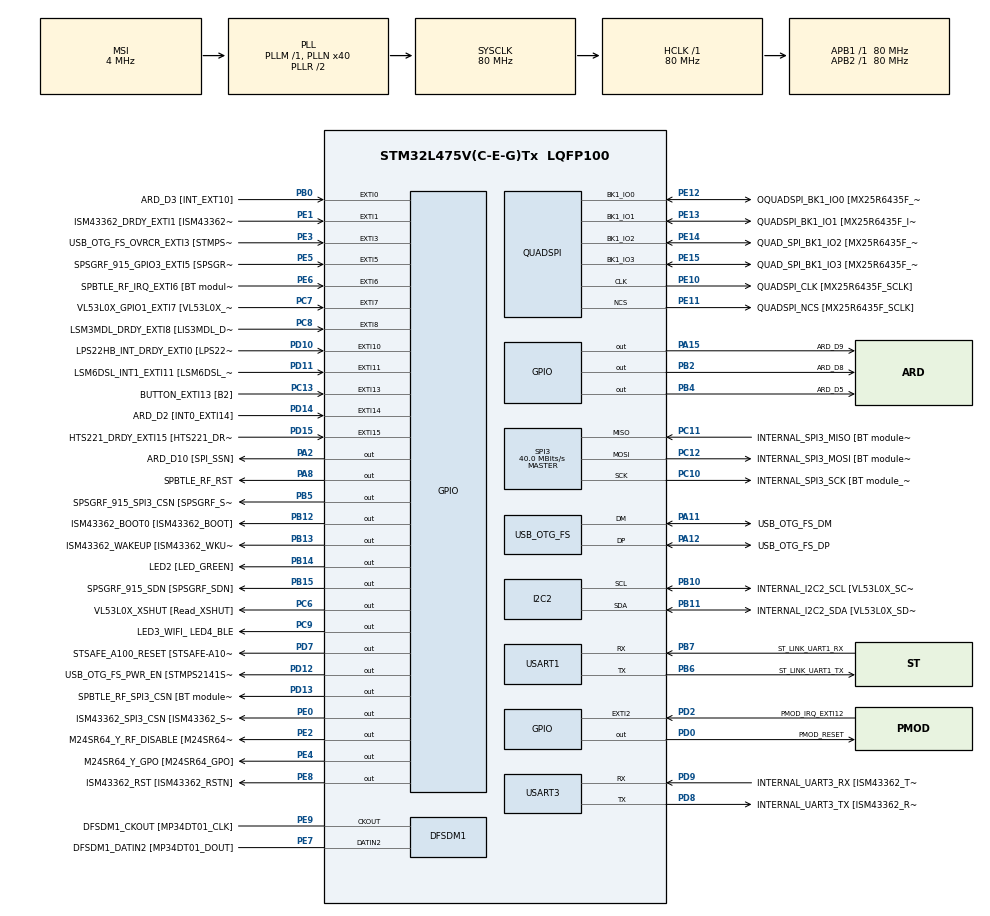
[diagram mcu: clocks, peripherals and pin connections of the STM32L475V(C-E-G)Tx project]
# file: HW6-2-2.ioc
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FREERTOS.Queues01=myQueue01,16,uint16_t,0,Static,myQueue01Buffer,myQueue01ControlBlock
FREERTOS.Tasks01=defaultTask,24,128,StartDefaultTask,Default,NULL,Static,defaultTaskBuffer,defaultTaskControlBlock
Mcu.Family=STM32L4
Mcu.Name=STM32L475V(C-E-G)Tx
Mcu.Package=LQFP100
NVIC.EXTI15_10_IRQn=true\:5\:0\:false\:false\:true\:true\:true\:true\:true
NVIC.EXTI9_5_IRQn=true\:5\:0\:false\:false\:true\:true\:true\:true\:true
NVIC.PriorityGroup=NVIC_PRIORITYGROUP_4
PA0.GPIO_Label=ARD_D1 [UART4_TX]
PA0.Signal=UART4_TX
PA1.GPIO_Label=ARD_D0 [UART4_RX]
PA1.Signal=UART4_RX
PA10.GPIO_Label=USB_OTG_FS_ID
PA10.Signal=USB_OTG_FS_ID
PA11.GPIO_Label=USB_OTG_FS_DM
PA11.Mode=Device_Only
PA11.Signal=USB_OTG_FS_DM
PA12.GPIO_Label=USB_OTG_FS_DP
PA12.Mode=Device_Only
PA12.Signal=USB_OTG_FS_DP
PA13\ (JTMS-SWDIO).GPIO_Label=SYS_JTMS_SWDIO
PA13\ (JTMS-SWDIO).Mode=Serial_Wire
PA13\ (JTMS-SWDIO).Signal=SYS_JTMS-SWDIO
PA14\ (JTCK-SWCLK).GPIO_Label=SYS_JTCK_SWCLK
PA14\ (JTCK-SWCLK).Mode=Serial_Wire
PA14\ (JTCK-SWCLK).Signal=SYS_JTCK-SWCLK
PA15\ (JTDI).GPIO_Label=ARD_D9
PA15\ (JTDI).Signal=GPIO_Output
PA2.GPIO_Label=ARD_D10 [SPI_SSN]
PA2.Signal=GPIO_Output
PA3.GPIO_Label=ARD_D4
PA3.Signal=S_TIM2_CH4
PA4.GPIO_Label=ARD_D7
PA4.Signal=ADCx_IN9
PA5.GPIO_Label=ARD_D13 [SPI1_SCK]
PA5.Signal=SPI1_SCK
PA6.GPIO_Label=ARD_D12 [SPI1_MISO]
PA6.Signal=SPI1_MISO
PA7.GPIO_Label=ARD_D11 [SPI1_MOSI]
PA7.Signal=SPI1_MOSI
PA8.GPIO_Label=SPBTLE_RF_RST
PA8.Signal=GPIO_Output
PA9.GPIO_Label=USB_OTG_FS_VBUS [STMPS2141STR_OUT]
PA9.Signal=USB_OTG_FS_VBUS
PB0.GPIO_Label=ARD_D3 [INT_EXT10]
PB0.Signal=GPXTI0
PB1.GPIO_Label=ARD_D6 [ADC1_IN6]
PB1.Signal=ADCx_IN16
PB10.GPIO_Label=INTERNAL_I2C2_SCL [VL53L0X_SCL]
PB10.GPIO_Pu=GPIO_PULLUP
PB10.Mode=I2C
PB10.Signal=I2C2_SCL
PB11.GPIO_Label=INTERNAL_I2C2_SDA [VL53L0X_SDA]
PB11.GPIO_Pu=GPIO_PULLUP
PB11.Mode=I2C
PB11.Signal=I2C2_SDA
PB12.GPIO_Label=ISM43362_BOOT0 [ISM43362_BOOT]
PB12.Signal=GPIO_Output
PB13.GPIO_Label=ISM43362_WAKEUP [ISM43362_WKUP]
PB13.Signal=GPIO_Output
PB14.GPIO_Label=LED2 [LED_GREEN]
PB14.Signal=GPIO_Output
PB15.GPIO_Label=SPSGRF_915_SDN [SPSGRF_SDN]
PB15.Signal=GPIO_Output
PB2.GPIO_Label=ARD_D8
PB2.Signal=GPIO_Output
PB3\ (JTDO-TRACESWO).GPIO_Label=SYS_JTD0_SWO
PB3\ (JTDO-TRACESWO).Signal=SYS_JTDO-SWO
PB4\ (NJTRST).GPIO_Label=ARD_D5
PB4\ (NJTRST).Signal=GPIO_Output
PB5.GPIO_Label=SPSGRF_915_SPI3_CSN [SPSGRF_SPI_CS]
PB5.PinState=GPIO_PIN_SET
PB5.Signal=GPIO_Output
PB6.GPIO_Label=ST_LINK_UART1_TX
PB6.Mode=Asynchronous
PB6.Signal=USART1_TX
PB7.GPIO_Label=ST_LINK_UART1_RX
PB7.Mode=Asynchronous
PB7.Signal=USART1_RX
PB8.GPIO_Label=ARD_D15 [I2C1_SCL]
PB8.Signal=I2C1_SCL
PB9.GPIO_Label=ARD_D14 [I2C1_SDA]
PB9.Signal=I2C1_SDA
PC0.GPIO_Label=ARD_A5 [ADC]
PC0.Signal=ADCx_IN1
PC1.GPIO_Label=ARD_A4 [ADC]
PC1.Signal=ADCx_IN2
PC10.GPIO_Label=INTERNAL_SPI3_SCK [BT module_SPI_SCLK] [ISM43362_SCK]
PC10.Mode=Full_Duplex_Master
PC10.Signal=SPI3_SCK
PC11.GPIO_Label=INTERNAL_SPI3_MISO [BT module_SPI_MISO] [ISM43362_MISO]
PC11.Mode=Full_Duplex_Master
PC11.Signal=SPI3_MISO
PC12.GPIO_Label=INTERNAL_SPI3_MOSI [BT module_SPI_MOSI] [ISM43362_MOSI]
PC12.Mode=Full_Duplex_Master
PC12.Signal=SPI3_MOSI
PC13.GPIO_Label=BUTTON_EXTI13 [B2]
PC13.GPIO_ModeDefaultEXTI=GPIO_MODE_IT_FALLING
PC13.Signal=GPXTI13
PC14-OSC32_IN\ (PC14).Mode=LSE-External-Oscillator
PC14-OSC32_IN\ (PC14).Signal=RCC_OSC32_IN
PC15-OSC32_OUT\ (PC15).Mode=LSE-External-Oscillator
PC15-OSC32_OUT\ (PC15).Signal=RCC_OSC32_OUT
PC2.GPIO_Label=ARD_A3 [ADC]
PC2.Signal=ADCx_IN3
PC3.GPIO_Label=ARD_A2 [ADC]
PC3.Signal=ADCx_IN4
PC4.GPIO_Label=ARD_A1 [ADC]
PC4.Signal=ADCx_IN13
PC5.GPIO_Label=ARD_A0 [ADC]
PC5.Signal=ADCx_IN14
PC6.GPIO_Label=VL53L0X_XSHUT [Read_XSHUT]
PC6.Signal=GPIO_Output
PC7.GPIO_Label=VL53L0X_GPIO1_EXTI7 [VL53L0X_GPIO1]
PC7.Signal=GPXTI7
PC8.GPIO_Label=LSM3MDL_DRDY_EXTI8 [LIS3MDL_DRDY]
PC8.Signal=GPXTI8
PC9.GPIO_Label=LED3_WIFI_ LED4_BLE
PC9.Signal=GPIO_Output
PD0.GPIO_Label=PMOD_RESET
PD0.Signal=GPIO_Output
PD1.GPIO_Label=PMOD_SPI2_SCK
PD1.Signal=SPI2_SCK
PD10.GPIO_Label=LPS22HB_INT_DRDY_EXTI0 [LPS22HB_INT_DRDY] 
PD10.Signal=GPXTI10
PD11.GPIO_Label=LSM6DSL_INT1_EXTI11 [LSM6DSL_INT1]
PD11.Signal=GPXTI11
PD12.GPIO_Label=USB_OTG_FS_PWR_EN [STMPS2141STR_EN]
PD12.Signal=GPIO_Output
PD13.GPIO_Label=SPBTLE_RF_SPI3_CSN [BT module_SPI_CS]
PD13.PinState=GPIO_PIN_SET
PD13.Signal=GPIO_Output
PD14.GPIO_Label=ARD_D2 [INT0_EXTI14]
PD14.Signal=GPXTI14
PD15.GPIO_Label=HTS221_DRDY_EXTI15 [HTS221_DRDY]
PD15.Signal=GPXTI15
PD2.GPIO_Label=PMOD_IRQ_EXTI12
PD2.Signal=GPXTI2
PD3.GPIO_Label=PMOD_UART2_CTS
PD3.Signal=USART2_CTS
PD4.GPIO_Label=PMOD_UART2_RTS
PD4.Signal=USART2_RTS
PD5.GPIO_Label=PMOD_UART2_TX
PD5.Signal=USART2_TX
PD6.GPIO_Label=PMOD_UART2_RX
PD6.Signal=USART2_RX
PD7.GPIO_Label=STSAFE_A100_RESET [STSAFE-A100_RESET]
PD7.Signal=GPIO_Output
PD8.GPIO_Label=INTERNAL_UART3_TX [ISM43362_RX]
PD8.Mode=Asynchronous
PD8.Signal=USART3_TX
PD9.GPIO_Label=INTERNAL_UART3_RX [ISM43362_TX]
PD9.Mode=Asynchronous
PD9.Signal=USART3_RX
PE0.GPIO_Label=ISM43362_SPI3_CSN [ISM43362_SSN]
PE0.PinState=GPIO_PIN_SET
PE0.Signal=GPIO_Output
PE1.GPIO_Label=ISM43362_DRDY_EXTI1 [ISM43362_DATARDY]
PE1.Signal=GPXTI1
PE10.GPIO_Label=QUADSPI_CLK [MX25R6435F_SCLK]
PE10.Mode=Single Bank
PE10.Signal=QUADSPI_CLK
PE11.GPIO_Label=QUADSPI_NCS [MX25R6435F_SCLK]
PE11.Mode=Single Bank
PE11.Signal=QUADSPI_NCS
PE12.GPIO_Label=OQUADSPI_BK1_IO0 [MX25R6435F_IO0]
PE12.Mode=Single Bank
PE12.Signal=QUADSPI_BK1_IO0
PE13.GPIO_Label=QUADSPI_BK1_IO1 [MX25R6435F_IO1]
PE13.Mode=Single Bank
PE13.Signal=QUADSPI_BK1_IO1
PE14.GPIO_Label=QUAD_SPI_BK1_IO2 [MX25R6435F_IO2]
PE14.Mode=Single Bank
PE14.Signal=QUADSPI_BK1_IO2
PE15.GPIO_Label=QUAD_SPI_BK1_IO3 [MX25R6435F_IO3]
PE15.Mode=Single Bank
PE15.Signal=QUADSPI_BK1_IO3
PE2.GPIO_Label=M24SR64_Y_RF_DISABLE [M24SR64_RFDIS]
PE2.Signal=GPIO_Output
PE3.GPIO_Label=USB_OTG_FS_OVRCR_EXTI3 [STMPS2141STR_FAULT]
PE3.Signal=GPXTI3
PE4.GPIO_Label=M24SR64_Y_GPO [M24SR64_GPO]
PE4.Signal=GPIO_Output
PE5.GPIO_Label=SPSGRF_915_GPIO3_EXTI5 [SPSGRF_GPIO_3]
PE5.Signal=GPXTI5
PE6.GPIO_Label=SPBTLE_RF_IRQ_EXTI6 [BT module_SPI_IRQ]
PE6.Signal=GPXTI6
PE7.GPIO_Label=DFSDM1_DATIN2 [MP34DT01_DOUT]
PE7.Signal=S_DATAIN2DFSDM1
PE8.GPIO_Label=ISM43362_RST [ISM43362_RSTN]
PE8.Signal=GPIO_Output
PE9.GPIO_Label=DFSDM1_CKOUT [MP34DT01_CLK]
PE9.Signal=S_CKOUTDFSDM1
ProjectManager.HeapSize=0x200
ProjectManager.StackSize=0x400
ProjectManager.TargetToolchain=STM32CubeIDE
QUADSPI.ClockPrescaler=2
QUADSPI.FifoThreshold=4
QUADSPI.FlashSize=23
QUADSPI.SampleShifting=QSPI_SAMPLE_SHIFTING_HALFCYCLE
RCC.ADCFreq_Value=48000000
RCC.AHBFreq_Value=80000000
RCC.APB1Freq_Value=80000000
RCC.APB1TimFreq_Value=80000000
RCC.APB2Freq_Value=80000000
RCC.APB2TimFreq_Value=80000000
RCC.CortexFreq_Value=80000000
RCC.HCLKFreq_Value=80000000
RCC.HSE_VALUE=8000000
RCC.HSI_VALUE=16000000
RCC.MSI_VALUE=4000000
RCC.PLLN=40
RCC.PLLSAI1N=24
RCC.SYSCLKFreq_VALUE=80000000
RCC.SYSCLKSource=RCC_SYSCLKSOURCE_PLLCLK
RCC.USBFreq_Value=48000000
RCC.VCOOutputFreq_Value=160000000
SH.ADCx_IN1.0=ADC1_IN1
SH.ADCx_IN13.0=ADC1_IN13
SH.ADCx_IN14.0=ADC1_IN14
SH.ADCx_IN16.0=ADC1_IN16
SH.ADCx_IN2.0=ADC1_IN2
SH.ADCx_IN3.0=ADC1_IN3
SH.ADCx_IN4.0=ADC1_IN4
SH.ADCx_IN9.0=ADC1_IN9
SH.S_CKOUTDFSDM1.0=DFSDM1_CKOUT,CKOUT
SH.S_CKOUTDFSDM1.1=DFSDM1_CKOUT,PDM_SPI_Input_from_ch12_and_Internal_Clock
SH.S_DATAIN2DFSDM1.0=DFSDM1_DATIN2,PDM_SPI_Input_from_ch12_and_Internal_Clock
SH.S_TIM2_CH4.0=TIM2_CH4
SPI3.CalculateBaudRate=40.0 MBits/s
SPI3.Direction=SPI_DIRECTION_2LINES
SPI3.Mode=SPI_MODE_MASTER
SPI3.VirtualType=VM_MASTER
USART1.VirtualMode-Asynchronous=VM_ASYNC
USART3.VirtualMode-Asynchronous=VM_ASYNC
USB_OTG_FS.VirtualMode=Device_Only
VP_FREERTOS_VS_CMSIS_V2.Mode=CMSIS_V2
board=B-L475E-IOT01A2

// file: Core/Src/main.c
/* USER CODE BEGIN Header */
/**
  ******************************************************************************
  * @file           : main.c
  * @brief          : Main program body
  ******************************************************************************
  * @attention
  *
  * Copyright (c) 2024 STMicroelectronics.
  * All rights reserved.
  *
  * This software is licensed under terms that can be found in the LICENSE file
  * in the root directory of this software component.
  * If no LICENSE file comes with this software, it is provided AS-IS.
  *
  ******************************************************************************
  */
/* USER CODE END Header */
#include "main.h"
#include "cmsis_os.h"

typedef StaticTask_t osStaticThreadDef_t;
typedef StaticQueue_t osStaticMessageQDef_t;

/* USER CODE BEGIN PM */
int flags;
/* USER CODE END PM */

DFSDM_Channel_HandleTypeDef hdfsdm1_channel1;

I2C_HandleTypeDef hi2c2;

QSPI_HandleTypeDef hqspi;

SPI_HandleTypeDef hspi3;

UART_HandleTypeDef huart1;
UART_HandleTypeDef huart3;

PCD_HandleTypeDef hpcd_USB_OTG_FS;

/* Definitions for defaultTask */
osThreadId_t defaultTaskHandle;
uint32_t defaultTaskBuffer[ 128 ];
osStaticThreadDef_t defaultTaskControlBlock;
const osThreadAttr_t defaultTask_attributes = {
  .name = "defaultTask",
  .cb_mem = &defaultTaskControlBlock,
  .cb_size = sizeof(defaultTaskControlBlock),
  .stack_mem = &defaultTaskBuffer[0],
  .stack_size = sizeof(defaultTaskBuffer),
  .priority = (osPriority_t) osPriorityNormal,
};
/* Definitions for myQueue01 */
osMessageQueueId_t myQueue01Handle;
uint8_t myQueue01Buffer[ 16 * sizeof( uint16_t ) ];
osStaticMessageQDef_t myQueue01ControlBlock;
const osMessageQueueAttr_t myQueue01_attributes = {
  .name = "myQueue01",
  .cb_mem = &myQueue01ControlBlock,
  .cb_size = sizeof(myQueue01ControlBlock),
  .mq_mem = &myQueue01Buffer,
  .mq_size = sizeof(myQueue01Buffer)
};
/* USER CODE BEGIN PV */
TIM_HandleTypeDef htim1;
ADC_HandleTypeDef hadc1;
DMA_HandleTypeDef hdma1;

#define SAMPLE_BUFFER_SIZE  256
uint16_t sample_buffer[SAMPLE_BUFFER_SIZE];
/* USER CODE END PV */

void SystemClock_Config(void);
static void MX_GPIO_Init(void);
static void MX_DFSDM1_Init(void);
static void MX_I2C2_Init(void);
static void MX_QUADSPI_Init(void);
static void MX_SPI3_Init(void);
static void MX_USART1_UART_Init(void);
static void MX_USART3_UART_Init(void);
static void MX_USB_OTG_FS_PCD_Init(void);
void StartDefaultTask(void *argument);

/* USER CODE BEGIN 0 */
int __io_putchar(int ch){
	HAL_UART_Transmit(&huart1, (uint8_t*)&ch, 1, 0xFFFF);
	return ch;
}

void HAL_ADC_MspInit(ADC_HandleTypeDef* hadc)
{
    if(hadc->Instance == ADC1)
    {
        /* Peripheral clock enable */
        __HAL_RCC_ADC_CLK_ENABLE();
    }

}

void HAL_ADC_MspDeInit(ADC_HandleTypeDef* hadc)
{
    if(hadc->Instance==ADC1)
    {
        /* Peripheral clock disable */
        __HAL_RCC_ADC_CLK_DISABLE();
    }

}

void ADC1_Init(void)
{
    ADC_MultiModeTypeDef multimode = {0};
    ADC_ChannelConfTypeDef sConfig = {0};

  /** Common config
  */
    hadc1.Instance = ADC1;
    hadc1.Init.ClockPrescaler = ADC_CLOCK_SYNC_PCLK_DIV4;//ADC_CLOCK_ASYNC_DIV1;
    hadc1.Init.Resolution = ADC_RESOLUTION_12B;
    hadc1.Init.DataAlign = ADC_DATAALIGN_RIGHT;
    hadc1.Init.ScanConvMode = ADC_SCAN_DISABLE;
    hadc1.Init.EOCSelection = ADC_EOC_SINGLE_CONV;
    hadc1.Init.LowPowerAutoWait = DISABLE;
    hadc1.Init.ContinuousConvMode = DISABLE;
    hadc1.Init.NbrOfConversion = 1;
    hadc1.Init.DiscontinuousConvMode = DISABLE;
    hadc1.Init.ExternalTrigConv = ADC_EXTERNALTRIG_T1_TRGO;
    hadc1.Init.ExternalTrigConvEdge = ADC_EXTERNALTRIGCONVEDGE_RISING;
    hadc1.Init.DMAContinuousRequests = DISABLE;
    hadc1.Init.Overrun = ADC_OVR_DATA_PRESERVED;
    hadc1.Init.OversamplingMode = DISABLE;
    if (HAL_ADC_Init(&hadc1) != HAL_OK)
    {
        Error_Handler();
    }

    if (HAL_ADCEx_Calibration_Start(&hadc1, ADC_SINGLE_ENDED) != HAL_OK)
    {
        Error_Handler();
    }

  /** Configure the ADC multi-mode
  */
    multimode.Mode = ADC_MODE_INDEPENDENT;
    if (HAL_ADCEx_MultiModeConfigChannel(&hadc1, &multimode) != HAL_OK)
    {
        Error_Handler();
    }

  /** Configure Regular Channel
  */
    sConfig.Channel = ADC_CHANNEL_TEMPSENSOR;
    sConfig.Rank = ADC_REGULAR_RANK_1;
    sConfig.SamplingTime = ADC_SAMPLETIME_2CYCLES_5;//ADC_SAMPLETIME_247CYCLES_5;
    sConfig.SingleDiff = ADC_SINGLE_ENDED;
    sConfig.OffsetNumber = ADC_OFFSET_NONE;
    sConfig.Offset = 0;
    if (HAL_ADC_ConfigChannel(&hadc1, &sConfig) != HAL_OK)
    {
        Error_Handler();
    }

}

void HAL_ADC_ConvCpltCallback(ADC_HandleTypeDef *hadc)
{
	//to do: inform RTOS task to print out sensor data
	int i;
//	for(i = SAMPLE_BUFFER_SIZE/2; i<SAMPLE_BUFFER_SIZE;++i)
//		printf("%d", sample_buffer[i]);
//	printf("\r\n");

	uint32_t val = 1;
	  uint8_t pri = 0;
	  flags = 1;
	  osStatus_t res = osMessageQueuePut(myQueue01Handle, &val, pri, 0);
	  if(res!=osOK){
	//	  osThreadSuspendAll();
		  printf("Message put failed:( :::: %d\r\n", res);
	//	  osThreadResumeAll();
	  }

}

void HAL_ADC_ConvHalfCpltCallback(ADC_HandleTypeDef *hadc)
{
    	//to do: inform RTOS task to print out sensor data

	int i;
//	for(i = 0; i<SAMPLE_BUFFER_SIZE/2;++i)
//		printf("%d", sample_buffer[i]);
//	printf("\r\n");

	uint32_t val = 0;
		  uint8_t pri = 0;
		  flags = 1;
		  osStatus_t res = osMessageQueuePut(myQueue01Handle, &val, pri, 0);
		  if(res!=osOK){
		//	  osThreadSuspendAll();
			  printf("Message put failed:( :::: %d\r\n", res);
		//	  osThreadResumeAll();
		  }
}

void DMA1_Channel1_IRQHandler(void)
{
    SET_BIT(hadc1.Instance->CFGR, ADC_CFGR_DMACFG);
    HAL_DMA_IRQHandler(&hdma1);
}

void ADC1_DMA1CH1_init()
{
    __HAL_RCC_DMA1_CLK_ENABLE();

    hdma1.Instance = DMA1_Channel1;
    hdma1.Init.Direction = DMA_PERIPH_TO_MEMORY;
    hdma1.Init.PeriphInc = DMA_PINC_DISABLE;
    hdma1.Init.MemInc = DMA_MINC_ENABLE;
    hdma1.Init.PeriphDataAlignment = DMA_PDATAALIGN_HALFWORD;
    hdma1.Init.MemDataAlignment = DMA_MDATAALIGN_HALFWORD;
    hdma1.Init.Mode = DMA_CIRCULAR;
    hdma1.Init.Priority = DMA_PRIORITY_HIGH;

    if (HAL_DMA_Init(&hdma1) != HAL_OK)
    {
        Error_Handler();
    }

    __HAL_LINKDMA(&hadc1, DMA_Handle, hdma1);

    ADC1_Init();

    NVIC_SetVector(DMA1_Channel1_IRQn, (uint32_t)&DMA1_Channel1_IRQHandler);
    HAL_NVIC_SetPriority(DMA1_Channel1_IRQn, 5, 0);
    HAL_NVIC_EnableIRQ(DMA1_Channel1_IRQn);
}

void HAL_TIM_Base_MspInit(TIM_HandleTypeDef* htim_base)
{
    if(htim_base->Instance == TIM1)
    {
        __HAL_RCC_TIM1_CLK_ENABLE();
    }
}

void HAL_TIM_Base_MspDeInit(TIM_HandleTypeDef* htim_base)
{
    if(htim_base->Instance == TIM1)
    {
        __HAL_RCC_TIM1_CLK_DISABLE();
    }
}

static void TIM1_Init(void)
{
    TIM_ClockConfigTypeDef sClockSourceConfig = {0};
    TIM_MasterConfigTypeDef sMasterConfig = {0};

    htim1.Instance = TIM1;
    htim1.Init.Prescaler = 4000 - 1;
    htim1.Init.CounterMode = TIM_COUNTERMODE_UP;
    htim1.Init.Period = 1000 - 1;
    htim1.Init.ClockDivision = TIM_CLOCKDIVISION_DIV1;
    htim1.Init.AutoReloadPreload = TIM_AUTORELOAD_PRELOAD_DISABLE;
    if (HAL_TIM_Base_Init(&htim1) != HAL_OK)
    {
        Error_Handler();
    }
    sClockSourceConfig.ClockSource = TIM_CLOCKSOURCE_INTERNAL;
    if (HAL_TIM_ConfigClockSource(&htim1, &sClockSourceConfig) != HAL_OK)
    {
        Error_Handler();
    }
    sMasterConfig.MasterOutputTrigger = TIM_TRGO_UPDATE;
    sMasterConfig.MasterSlaveMode = TIM_MASTERSLAVEMODE_DISABLE;
    if (HAL_TIMEx_MasterConfigSynchronization(&htim1, &sMasterConfig) != HAL_OK)
    {
        Error_Handler();
    }
}
/* USER CODE END 0 */

int main(void)
{

  /* MCU Configuration--------------------------------------------------------*/

  /* Reset of all peripherals, Initializes the Flash interface and the Systick. */
  HAL_Init();

  /* Configure the system clock */
  SystemClock_Config();

  /* Initialize all configured peripherals */
  MX_GPIO_Init();
  MX_DFSDM1_Init();
  MX_I2C2_Init();
  MX_QUADSPI_Init();
  MX_SPI3_Init();
  MX_USART1_UART_Init();
  MX_USART3_UART_Init();
  MX_USB_OTG_FS_PCD_Init();
  /* USER CODE BEGIN 2 */
  TIM1_Init();
      ADC1_DMA1CH1_init();

      HAL_ADC_Start_DMA(&hadc1, (uint32_t *) &sample_buffer[0], SAMPLE_BUFFER_SIZE);
                HAL_TIM_Base_Start_IT(&htim1);
  /* USER CODE END 2 */

  /* Init scheduler */
  osKernelInitialize();

  /* Create the queue(s) */
  /* creation of myQueue01 */
  myQueue01Handle = osMessageQueueNew (16, sizeof(uint16_t), &myQueue01_attributes);

  /* Create the thread(s) */
  /* creation of defaultTask */
  defaultTaskHandle = osThreadNew(StartDefaultTask, NULL, &defaultTask_attributes);

  /* Start scheduler */
  osKernelStart();

  /* We should never get here as control is now taken by the scheduler */

  /* Infinite loop */
  while (1)
  {

  }
}

void SystemClock_Config(void)
{
  RCC_OscInitTypeDef RCC_OscInitStruct = {0};
  RCC_ClkInitTypeDef RCC_ClkInitStruct = {0};

  /** Configure the main internal regulator output voltage
  */
  if (HAL_PWREx_ControlVoltageScaling(PWR_REGULATOR_VOLTAGE_SCALE1) != HAL_OK)
  {
    Error_Handler();
  }

  /** Configure LSE Drive Capability
  */
  HAL_PWR_EnableBkUpAccess();
  __HAL_RCC_LSEDRIVE_CONFIG(RCC_LSEDRIVE_LOW);

  /** Initializes the RCC Oscillators according to the specified parameters
  * in the RCC_OscInitTypeDef structure.
  */
  RCC_OscInitStruct.OscillatorType = RCC_OSCILLATORTYPE_LSE|RCC_OSCILLATORTYPE_MSI;
  RCC_OscInitStruct.LSEState = RCC_LSE_ON;
  RCC_OscInitStruct.MSIState = RCC_MSI_ON;
  RCC_OscInitStruct.MSICalibrationValue = 0;
  RCC_OscInitStruct.MSIClockRange = RCC_MSIRANGE_6;
  RCC_OscInitStruct.PLL.PLLState = RCC_PLL_ON;
  RCC_OscInitStruct.PLL.PLLSource = RCC_PLLSOURCE_MSI;
  RCC_OscInitStruct.PLL.PLLM = 1;
  RCC_OscInitStruct.PLL.PLLN = 40;
  RCC_OscInitStruct.PLL.PLLP = RCC_PLLP_DIV7;
  RCC_OscInitStruct.PLL.PLLQ = RCC_PLLQ_DIV2;
  RCC_OscInitStruct.PLL.PLLR = RCC_PLLR_DIV2;
  if (HAL_RCC_OscConfig(&RCC_OscInitStruct) != HAL_OK)
  {
    Error_Handler();
  }

  /** Initializes the CPU, AHB and APB buses clocks
  */
  RCC_ClkInitStruct.ClockType = RCC_CLOCKTYPE_HCLK|RCC_CLOCKTYPE_SYSCLK
                              |RCC_CLOCKTYPE_PCLK1|RCC_CLOCKTYPE_PCLK2;
  RCC_ClkInitStruct.SYSCLKSource = RCC_SYSCLKSOURCE_PLLCLK;
  RCC_ClkInitStruct.AHBCLKDivider = RCC_SYSCLK_DIV1;
  RCC_ClkInitStruct.APB1CLKDivider = RCC_HCLK_DIV1;
  RCC_ClkInitStruct.APB2CLKDivider = RCC_HCLK_DIV1;

  if (HAL_RCC_ClockConfig(&RCC_ClkInitStruct, FLASH_LATENCY_4) != HAL_OK)
  {
    Error_Handler();
  }

  /** Enable MSI Auto calibration
  */
  HAL_RCCEx_EnableMSIPLLMode();
}

static void MX_DFSDM1_Init(void)
{

  hdfsdm1_channel1.Instance = DFSDM1_Channel1;
  hdfsdm1_channel1.Init.OutputClock.Activation = ENABLE;
  hdfsdm1_channel1.Init.OutputClock.Selection = DFSDM_CHANNEL_OUTPUT_CLOCK_SYSTEM;
  hdfsdm1_channel1.Init.OutputClock.Divider = 2;
  hdfsdm1_channel1.Init.Input.Multiplexer = DFSDM_CHANNEL_EXTERNAL_INPUTS;
  hdfsdm1_channel1.Init.Input.DataPacking = DFSDM_CHANNEL_STANDARD_MODE;
  hdfsdm1_channel1.Init.Input.Pins = DFSDM_CHANNEL_FOLLOWING_CHANNEL_PINS;
  hdfsdm1_channel1.Init.SerialInterface.Type = DFSDM_CHANNEL_SPI_RISING;
  hdfsdm1_channel1.Init.SerialInterface.SpiClock = DFSDM_CHANNEL_SPI_CLOCK_INTERNAL;
  hdfsdm1_channel1.Init.Awd.FilterOrder = DFSDM_CHANNEL_FASTSINC_ORDER;
  hdfsdm1_channel1.Init.Awd.Oversampling = 1;
  hdfsdm1_channel1.Init.Offset = 0;
  hdfsdm1_channel1.Init.RightBitShift = 0x00;
  if (HAL_DFSDM_ChannelInit(&hdfsdm1_channel1) != HAL_OK)
  {
    Error_Handler();
  }

}

static void MX_I2C2_Init(void)
{

  hi2c2.Instance = I2C2;
  hi2c2.Init.Timing = 0x00000E14;
  hi2c2.Init.OwnAddress1 = 0;
  hi2c2.Init.AddressingMode = I2C_ADDRESSINGMODE_7BIT;
  hi2c2.Init.DualAddressMode = I2C_DUALADDRESS_DISABLE;
  hi2c2.Init.OwnAddress2 = 0;
  hi2c2.Init.OwnAddress2Masks = I2C_OA2_NOMASK;
  hi2c2.Init.GeneralCallMode = I2C_GENERALCALL_DISABLE;
  hi2c2.Init.NoStretchMode = I2C_NOSTRETCH_DISABLE;
  if (HAL_I2C_Init(&hi2c2) != HAL_OK)
  {
    Error_Handler();
  }

  /** Configure Analogue filter
  */
  if (HAL_I2CEx_ConfigAnalogFilter(&hi2c2, I2C_ANALOGFILTER_ENABLE) != HAL_OK)
  {
    Error_Handler();
  }

  /** Configure Digital filter
  */
  if (HAL_I2CEx_ConfigDigitalFilter(&hi2c2, 0) != HAL_OK)
  {
    Error_Handler();
  }

}

static void MX_QUADSPI_Init(void)
{

  /* QUADSPI parameter configuration*/
  hqspi.Instance = QUADSPI;
  hqspi.Init.ClockPrescaler = 2;
  hqspi.Init.FifoThreshold = 4;
  hqspi.Init.SampleShifting = QSPI_SAMPLE_SHIFTING_HALFCYCLE;
  hqspi.Init.FlashSize = 23;
  hqspi.Init.ChipSelectHighTime = QSPI_CS_HIGH_TIME_1_CYCLE;
  hqspi.Init.ClockMode = QSPI_CLOCK_MODE_0;
  if (HAL_QSPI_Init(&hqspi) != HAL_OK)
  {
    Error_Handler();
  }

}

static void MX_SPI3_Init(void)
{

  /* SPI3 parameter configuration*/
  hspi3.Instance = SPI3;
  hspi3.Init.Mode = SPI_MODE_MASTER;
  hspi3.Init.Direction = SPI_DIRECTION_2LINES;
  hspi3.Init.DataSize = SPI_DATASIZE_4BIT;
  hspi3.Init.CLKPolarity = SPI_POLARITY_LOW;
  hspi3.Init.CLKPhase = SPI_PHASE_1EDGE;
  hspi3.Init.NSS = SPI_NSS_SOFT;
  hspi3.Init.BaudRatePrescaler = SPI_BAUDRATEPRESCALER_2;
  hspi3.Init.FirstBit = SPI_FIRSTBIT_MSB;
  hspi3.Init.TIMode = SPI_TIMODE_DISABLE;
  hspi3.Init.CRCCalculation = SPI_CRCCALCULATION_DISABLE;
  hspi3.Init.CRCPolynomial = 7;
  hspi3.Init.CRCLength = SPI_CRC_LENGTH_DATASIZE;
  hspi3.Init.NSSPMode = SPI_NSS_PULSE_ENABLE;
  if (HAL_SPI_Init(&hspi3) != HAL_OK)
  {
    Error_Handler();
  }

}

static void MX_USART1_UART_Init(void)
{

  huart1.Instance = USART1;
  huart1.Init.BaudRate = 115200;
  huart1.Init.WordLength = UART_WORDLENGTH_8B;
  huart1.Init.StopBits = UART_STOPBITS_1;
  huart1.Init.Parity = UART_PARITY_NONE;
  huart1.Init.Mode = UART_MODE_TX_RX;
  huart1.Init.HwFlowCtl = UART_HWCONTROL_NONE;
  huart1.Init.OverSampling = UART_OVERSAMPLING_16;
  huart1.Init.OneBitSampling = UART_ONE_BIT_SAMPLE_DISABLE;
  huart1.AdvancedInit.AdvFeatureInit = UART_ADVFEATURE_NO_INIT;
  if (HAL_UART_Init(&huart1) != HAL_OK)
  {
    Error_Handler();
  }

}

static void MX_USART3_UART_Init(void)
{

  huart3.Instance = USART3;
  huart3.Init.BaudRate = 115200;
  huart3.Init.WordLength = UART_WORDLENGTH_8B;
  huart3.Init.StopBits = UART_STOPBITS_1;
  huart3.Init.Parity = UART_PARITY_NONE;
  huart3.Init.Mode = UART_MODE_TX_RX;
  huart3.Init.HwFlowCtl = UART_HWCONTROL_NONE;
  huart3.Init.OverSampling = UART_OVERSAMPLING_16;
  huart3.Init.OneBitSampling = UART_ONE_BIT_SAMPLE_DISABLE;
  huart3.AdvancedInit.AdvFeatureInit = UART_ADVFEATURE_NO_INIT;
  if (HAL_UART_Init(&huart3) != HAL_OK)
  {
    Error_Handler();
  }

}

static void MX_USB_OTG_FS_PCD_Init(void)
{

  hpcd_USB_OTG_FS.Instance = USB_OTG_FS;
  hpcd_USB_OTG_FS.Init.dev_endpoints = 6;
  hpcd_USB_OTG_FS.Init.speed = PCD_SPEED_FULL;
  hpcd_USB_OTG_FS.Init.phy_itface = PCD_PHY_EMBEDDED;
  hpcd_USB_OTG_FS.Init.Sof_enable = DISABLE;
  hpcd_USB_OTG_FS.Init.low_power_enable = DISABLE;
  hpcd_USB_OTG_FS.Init.lpm_enable = DISABLE;
  hpcd_USB_OTG_FS.Init.battery_charging_enable = DISABLE;
  hpcd_USB_OTG_FS.Init.use_dedicated_ep1 = DISABLE;
  hpcd_USB_OTG_FS.Init.vbus_sensing_enable = DISABLE;
  if (HAL_PCD_Init(&hpcd_USB_OTG_FS) != HAL_OK)
  {
    Error_Handler();
  }

}

static void MX_GPIO_Init(void)
{
  GPIO_InitTypeDef GPIO_InitStruct = {0};

  /* GPIO Ports Clock Enable */
  __HAL_RCC_GPIOE_CLK_ENABLE();
  __HAL_RCC_GPIOC_CLK_ENABLE();
  __HAL_RCC_GPIOA_CLK_ENABLE();
  __HAL_RCC_GPIOB_CLK_ENABLE();
  __HAL_RCC_GPIOD_CLK_ENABLE();

  /*Configure GPIO pin Output Level */
  HAL_GPIO_WritePin(GPIOE, M24SR64_Y_RF_DISABLE_Pin|M24SR64_Y_GPO_Pin|ISM43362_RST_Pin, GPIO_PIN_RESET);

  /*Configure GPIO pin Output Level */
  HAL_GPIO_WritePin(GPIOA, ARD_D10_Pin|SPBTLE_RF_RST_Pin|ARD_D9_Pin, GPIO_PIN_RESET);

  /*Configure GPIO pin Output Level */
  HAL_GPIO_WritePin(GPIOB, ARD_D8_Pin|ISM43362_BOOT0_Pin|ISM43362_WAKEUP_Pin|LED2_Pin
                          |SPSGRF_915_SDN_Pin|ARD_D5_Pin, GPIO_PIN_RESET);

  /*Configure GPIO pin Output Level */
  HAL_GPIO_WritePin(GPIOD, USB_OTG_FS_PWR_EN_Pin|PMOD_RESET_Pin|STSAFE_A100_RESET_Pin, GPIO_PIN_RESET);

  /*Configure GPIO pin Output Level */
  HAL_GPIO_WritePin(SPBTLE_RF_SPI3_CSN_GPIO_Port, SPBTLE_RF_SPI3_CSN_Pin, GPIO_PIN_SET);

  /*Configure GPIO pin Output Level */
  HAL_GPIO_WritePin(GPIOC, VL53L0X_XSHUT_Pin|LED3_WIFI__LED4_BLE_Pin, GPIO_PIN_RESET);

  /*Configure GPIO pin Output Level */
  HAL_GPIO_WritePin(SPSGRF_915_SPI3_CSN_GPIO_Port, SPSGRF_915_SPI3_CSN_Pin, GPIO_PIN_SET);

  /*Configure GPIO pin Output Level */
  HAL_GPIO_WritePin(ISM43362_SPI3_CSN_GPIO_Port, ISM43362_SPI3_CSN_Pin, GPIO_PIN_SET);

  /*Configure GPIO pins : M24SR64_Y_RF_DISABLE_Pin M24SR64_Y_GPO_Pin ISM43362_RST_Pin ISM43362_SPI3_CSN_Pin */
  GPIO_InitStruct.Pin = M24SR64_Y_RF_DISABLE_Pin|M24SR64_Y_GPO_Pin|ISM43362_RST_Pin|ISM43362_SPI3_CSN_Pin;
  GPIO_InitStruct.Mode = GPIO_MODE_OUTPUT_PP;
  GPIO_InitStruct.Pull = GPIO_NOPULL;
  GPIO_InitStruct.Speed = GPIO_SPEED_FREQ_LOW;
  HAL_GPIO_Init(GPIOE, &GPIO_InitStruct);

  /*Configure GPIO pins : USB_OTG_FS_OVRCR_EXTI3_Pin SPSGRF_915_GPIO3_EXTI5_Pin SPBTLE_RF_IRQ_EXTI6_Pin ISM43362_DRDY_EXTI1_Pin */
  GPIO_InitStruct.Pin = USB_OTG_FS_OVRCR_EXTI3_Pin|SPSGRF_915_GPIO3_EXTI5_Pin|SPBTLE_RF_IRQ_EXTI6_Pin|ISM43362_DRDY_EXTI1_Pin;
  GPIO_InitStruct.Mode = GPIO_MODE_IT_RISING;
  GPIO_InitStruct.Pull = GPIO_NOPULL;
  HAL_GPIO_Init(GPIOE, &GPIO_InitStruct);

  /*Configure GPIO pin : BUTTON_EXTI13_Pin */
  GPIO_InitStruct.Pin = BUTTON_EXTI13_Pin;
  GPIO_InitStruct.Mode = GPIO_MODE_IT_FALLING;
  GPIO_InitStruct.Pull = GPIO_NOPULL;
  HAL_GPIO_Init(BUTTON_EXTI13_GPIO_Port, &GPIO_InitStruct);

  /*Configure GPIO pins : ARD_A5_Pin ARD_A4_Pin ARD_A3_Pin ARD_A2_Pin
                           ARD_A1_Pin ARD_A0_Pin */
  GPIO_InitStruct.Pin = ARD_A5_Pin|ARD_A4_Pin|ARD_A3_Pin|ARD_A2_Pin
                          |ARD_A1_Pin|ARD_A0_Pin;
  GPIO_InitStruct.Mode = GPIO_MODE_ANALOG_ADC_CONTROL;
  GPIO_InitStruct.Pull = GPIO_NOPULL;
  HAL_GPIO_Init(GPIOC, &GPIO_InitStruct);

  /*Configure GPIO pins : ARD_D1_Pin ARD_D0_Pin */
  GPIO_InitStruct.Pin = ARD_D1_Pin|ARD_D0_Pin;
  GPIO_InitStruct.Mode = GPIO_MODE_AF_PP;
  GPIO_InitStruct.Pull = GPIO_NOPULL;
  GPIO_InitStruct.Speed = GPIO_SPEED_FREQ_VERY_HIGH;
  GPIO_InitStruct.Alternate = GPIO_AF8_UART4;
  HAL_GPIO_Init(GPIOA, &GPIO_InitStruct);

  /*Configure GPIO pins : ARD_D10_Pin SPBTLE_RF_RST_Pin ARD_D9_Pin */
  GPIO_InitStruct.Pin = ARD_D10_Pin|SPBTLE_RF_RST_Pin|ARD_D9_Pin;
  GPIO_InitStruct.Mode = GPIO_MODE_OUTPUT_PP;
  GPIO_InitStruct.Pull = GPIO_NOPULL;
  GPIO_InitStruct.Speed = GPIO_SPEED_FREQ_LOW;
  HAL_GPIO_Init(GPIOA, &GPIO_InitStruct);

  /*Configure GPIO pin : ARD_D4_Pin */
  GPIO_InitStruct.Pin = ARD_D4_Pin;
  GPIO_InitStruct.Mode = GPIO_MODE_AF_PP;
  GPIO_InitStruct.Pull = GPIO_NOPULL;
  GPIO_InitStruct.Speed = GPIO_SPEED_FREQ_LOW;
  GPIO_InitStruct.Alternate = GPIO_AF1_TIM2;
  HAL_GPIO_Init(ARD_D4_GPIO_Port, &GPIO_InitStruct);

  /*Configure GPIO pin : ARD_D7_Pin */
  GPIO_InitStruct.Pin = ARD_D7_Pin;
  GPIO_InitStruct.Mode = GPIO_MODE_ANALOG_ADC_CONTROL;
  GPIO_InitStruct.Pull = GPIO_NOPULL;
  HAL_GPIO_Init(ARD_D7_GPIO_Port, &GPIO_InitStruct);

  /*Configure GPIO pins : ARD_D13_Pin ARD_D12_Pin ARD_D11_Pin */
  GPIO_InitStruct.Pin = ARD_D13_Pin|ARD_D12_Pin|ARD_D11_Pin;
  GPIO_InitStruct.Mode = GPIO_MODE_AF_PP;
  GPIO_InitStruct.Pull = GPIO_NOPULL;
  GPIO_InitStruct.Speed = GPIO_SPEED_FREQ_VERY_HIGH;
  GPIO_InitStruct.Alternate = GPIO_AF5_SPI1;
  HAL_GPIO_Init(GPIOA, &GPIO_InitStruct);

  /*Configure GPIO pin : ARD_D3_Pin */
  GPIO_InitStruct.Pin = ARD_D3_Pin;
  GPIO_InitStruct.Mode = GPIO_MODE_IT_RISING;
  GPIO_InitStruct.Pull = GPIO_NOPULL;
  HAL_GPIO_Init(ARD_D3_GPIO_Port, &GPIO_InitStruct);

  /*Configure GPIO pin : ARD_D6_Pin */
  GPIO_InitStruct.Pin = ARD_D6_Pin;
  GPIO_InitStruct.Mode = GPIO_MODE_ANALOG_ADC_CONTROL;
  GPIO_InitStruct.Pull = GPIO_NOPULL;
  HAL_GPIO_Init(ARD_D6_GPIO_Port, &GPIO_InitStruct);

  /*Configure GPIO pins : ARD_D8_Pin ISM43362_BOOT0_Pin ISM43362_WAKEUP_Pin LED2_Pin
                           SPSGRF_915_SDN_Pin ARD_D5_Pin SPSGRF_915_SPI3_CSN_Pin */
  GPIO_InitStruct.Pin = ARD_D8_Pin|ISM43362_BOOT0_Pin|ISM43362_WAKEUP_Pin|LED2_Pin
                          |SPSGRF_915_SDN_Pin|ARD_D5_Pin|SPSGRF_915_SPI3_CSN_Pin;
  GPIO_InitStruct.Mode = GPIO_MODE_OUTPUT_PP;
  GPIO_InitStruct.Pull = GPIO_NOPULL;
  GPIO_InitStruct.Speed = GPIO_SPEED_FREQ_LOW;
  HAL_GPIO_Init(GPIOB, &GPIO_InitStruct);

  /*Configure GPIO pins : LPS22HB_INT_DRDY_EXTI0_Pin LSM6DSL_INT1_EXTI11_Pin ARD_D2_Pin HTS221_DRDY_EXTI15_Pin
                           PMOD_IRQ_EXTI12_Pin */
  GPIO_InitStruct.Pin = LPS22HB_INT_DRDY_EXTI0_Pin|LSM6DSL_INT1_EXTI11_Pin|ARD_D2_Pin|HTS221_DRDY_EXTI15_Pin
                          |PMOD_IRQ_EXTI12_Pin;
  GPIO_InitStruct.Mode = GPIO_MODE_IT_RISING;
  GPIO_InitStruct.Pull = GPIO_NOPULL;
  HAL_GPIO_Init(GPIOD, &GPIO_InitStruct);

  /*Configure GPIO pins : USB_OTG_FS_PWR_EN_Pin SPBTLE_RF_SPI3_CSN_Pin PMOD_RESET_Pin STSAFE_A100_RESET_Pin */
  GPIO_InitStruct.Pin = USB_OTG_FS_PWR_EN_Pin|SPBTLE_RF_SPI3_CSN_Pin|PMOD_RESET_Pin|STSAFE_A100_RESET_Pin;
  GPIO_InitStruct.Mode = GPIO_MODE_OUTPUT_PP;
  GPIO_InitStruct.Pull = GPIO_NOPULL;
  GPIO_InitStruct.Speed = GPIO_SPEED_FREQ_LOW;
  HAL_GPIO_Init(GPIOD, &GPIO_InitStruct);

  /*Configure GPIO pins : VL53L0X_XSHUT_Pin LED3_WIFI__LED4_BLE_Pin */
  GPIO_InitStruct.Pin = VL53L0X_XSHUT_Pin|LED3_WIFI__LED4_BLE_Pin;
  GPIO_InitStruct.Mode = GPIO_MODE_OUTPUT_PP;
  GPIO_InitStruct.Pull = GPIO_NOPULL;
  GPIO_InitStruct.Speed = GPIO_SPEED_FREQ_LOW;
  HAL_GPIO_Init(GPIOC, &GPIO_InitStruct);

  /*Configure GPIO pins : VL53L0X_GPIO1_EXTI7_Pin LSM3MDL_DRDY_EXTI8_Pin */
  GPIO_InitStruct.Pin = VL53L0X_GPIO1_EXTI7_Pin|LSM3MDL_DRDY_EXTI8_Pin;
  GPIO_InitStruct.Mode = GPIO_MODE_IT_RISING;
  GPIO_InitStruct.Pull = GPIO_NOPULL;
  HAL_GPIO_Init(GPIOC, &GPIO_InitStruct);

  /*Configure GPIO pin : PMOD_SPI2_SCK_Pin */
  GPIO_InitStruct.Pin = PMOD_SPI2_SCK_Pin;
  GPIO_InitStruct.Mode = GPIO_MODE_AF_PP;
  GPIO_InitStruct.Pull = GPIO_NOPULL;
  GPIO_InitStruct.Speed = GPIO_SPEED_FREQ_VERY_HIGH;
  GPIO_InitStruct.Alternate = GPIO_AF5_SPI2;
  HAL_GPIO_Init(PMOD_SPI2_SCK_GPIO_Port, &GPIO_InitStruct);

  /*Configure GPIO pins : PMOD_UART2_CTS_Pin PMOD_UART2_RTS_Pin PMOD_UART2_TX_Pin PMOD_UART2_RX_Pin */
  GPIO_InitStruct.Pin = PMOD_UART2_CTS_Pin|PMOD_UART2_RTS_Pin|PMOD_UART2_TX_Pin|PMOD_UART2_RX_Pin;
  GPIO_InitStruct.Mode = GPIO_MODE_AF_PP;
  GPIO_InitStruct.Pull = GPIO_NOPULL;
  GPIO_InitStruct.Speed = GPIO_SPEED_FREQ_VERY_HIGH;
  GPIO_InitStruct.Alternate = GPIO_AF7_USART2;
  HAL_GPIO_Init(GPIOD, &GPIO_InitStruct);

  /*Configure GPIO pins : ARD_D15_Pin ARD_D14_Pin */
  GPIO_InitStruct.Pin = ARD_D15_Pin|ARD_D14_Pin;
  GPIO_InitStruct.Mode = GPIO_MODE_AF_OD;
  GPIO_InitStruct.Pull = GPIO_NOPULL;
  GPIO_InitStruct.Speed = GPIO_SPEED_FREQ_VERY_HIGH;
  GPIO_InitStruct.Alternate = GPIO_AF4_I2C1;
  HAL_GPIO_Init(GPIOB, &GPIO_InitStruct);

  /* EXTI interrupt init*/
  HAL_NVIC_SetPriority(EXTI9_5_IRQn, 5, 0);
  HAL_NVIC_EnableIRQ(EXTI9_5_IRQn);

  HAL_NVIC_SetPriority(EXTI15_10_IRQn, 5, 0);
  HAL_NVIC_EnableIRQ(EXTI15_10_IRQn);

}

void StartDefaultTask(void *argument)
{
  /* USER CODE BEGIN 5 */
	uint32_t data;
		uint8_t pri=0;
		int i;
	  /* Infinite loop */
	  for(;;)
	  {
		  if(osMessageQueueGet(myQueue01Handle, &data, &pri, 0)==osOK){
	//		  osThreadSuspend();
//			  printf("%d\r\n", (int)data);
//			  printf("hello world!!\r\n");
			  if(!flags){
//				  printf("receive 0\r\n");
				  for(i = 0; i<SAMPLE_BUFFER_SIZE/2;++i)
				  		printf("%d ", sample_buffer[i]);
				  	printf("\r\n");
			  } else {
//				  printf("receive 1\r\n");
				  for(i = SAMPLE_BUFFER_SIZE/2; i<SAMPLE_BUFFER_SIZE;++i)
				  		printf("%d ", sample_buffer[i]);
				  	printf("\r\n");
			  }
	//		  osThreadResume();

		  }
//	  printf("hello world222\r\n");
	    osDelay(100);
	  }
  /* USER CODE END 5 */
}

void Error_Handler(void)
{
  __disable_irq();
  while (1)
  {
  }
}
